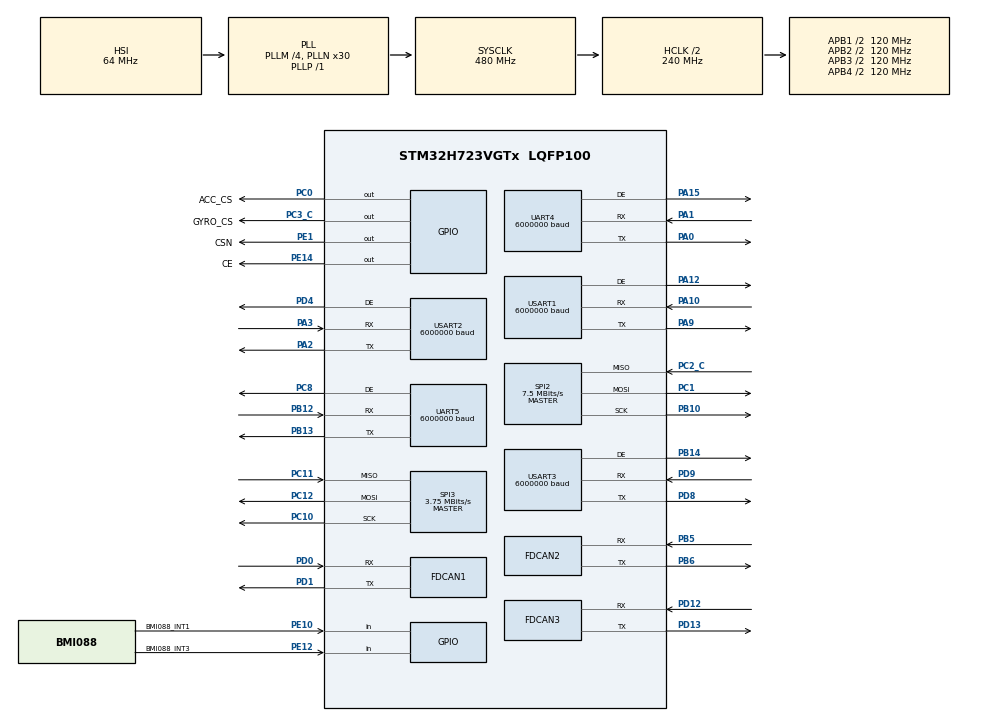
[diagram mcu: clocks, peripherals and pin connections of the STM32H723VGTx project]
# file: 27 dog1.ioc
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CORTEX_M7.default_mode_Activation=1
Dma.Request0=USART1_RX
Dma.Request1=USART1_TX
Dma.Request2=USART2_RX
Dma.Request3=USART2_TX
Dma.Request4=USART3_RX
Dma.Request5=USART3_TX
Dma.Request6=UART4_TX
Dma.Request7=UART4_RX
Dma.Request8=UART5_RX
Dma.Request9=UART5_TX
Dma.UART4_RX.7.Direction=DMA_PERIPH_TO_MEMORY
Dma.UART4_RX.7.EventEnable=DISABLE
Dma.UART4_RX.7.FIFOMode=DMA_FIFOMODE_DISABLE
Dma.UART4_RX.7.Instance=DMA1_Stream7
Dma.UART4_RX.7.MemDataAlignment=DMA_MDATAALIGN_BYTE
Dma.UART4_RX.7.MemInc=DMA_MINC_ENABLE
Dma.UART4_RX.7.Mode=DMA_CIRCULAR
Dma.UART4_RX.7.PeriphDataAlignment=DMA_PDATAALIGN_BYTE
Dma.UART4_RX.7.PeriphInc=DMA_PINC_DISABLE
Dma.UART4_RX.7.Polarity=HAL_DMAMUX_REQ_GEN_RISING
Dma.UART4_RX.7.Priority=DMA_PRIORITY_MEDIUM
Dma.UART4_RX.7.RequestNumber=1
Dma.UART4_RX.7.SignalID=NONE
Dma.UART4_RX.7.SyncEnable=DISABLE
Dma.UART4_RX.7.SyncPolarity=HAL_DMAMUX_SYNC_NO_EVENT
Dma.UART4_RX.7.SyncRequestNumber=1
Dma.UART4_RX.7.SyncSignalID=NONE
Dma.UART4_TX.6.Direction=DMA_MEMORY_TO_PERIPH
Dma.UART4_TX.6.EventEnable=DISABLE
Dma.UART4_TX.6.FIFOMode=DMA_FIFOMODE_DISABLE
Dma.UART4_TX.6.Instance=DMA1_Stream6
Dma.UART4_TX.6.MemDataAlignment=DMA_MDATAALIGN_BYTE
Dma.UART4_TX.6.MemInc=DMA_MINC_ENABLE
Dma.UART4_TX.6.Mode=DMA_NORMAL
Dma.UART4_TX.6.PeriphDataAlignment=DMA_PDATAALIGN_BYTE
Dma.UART4_TX.6.PeriphInc=DMA_PINC_DISABLE
Dma.UART4_TX.6.Polarity=HAL_DMAMUX_REQ_GEN_RISING
Dma.UART4_TX.6.Priority=DMA_PRIORITY_MEDIUM
Dma.UART4_TX.6.RequestNumber=1
Dma.UART4_TX.6.SignalID=NONE
Dma.UART4_TX.6.SyncEnable=DISABLE
Dma.UART4_TX.6.SyncPolarity=HAL_DMAMUX_SYNC_NO_EVENT
Dma.UART4_TX.6.SyncRequestNumber=1
Dma.UART4_TX.6.SyncSignalID=NONE
Dma.UART5_RX.8.Direction=DMA_PERIPH_TO_MEMORY
Dma.UART5_RX.8.EventEnable=DISABLE
Dma.UART5_RX.8.FIFOMode=DMA_FIFOMODE_DISABLE
Dma.UART5_RX.8.Instance=DMA2_Stream0
Dma.UART5_RX.8.MemDataAlignment=DMA_MDATAALIGN_BYTE
Dma.UART5_RX.8.MemInc=DMA_MINC_ENABLE
Dma.UART5_RX.8.Mode=DMA_CIRCULAR
Dma.UART5_RX.8.PeriphDataAlignment=DMA_PDATAALIGN_BYTE
Dma.UART5_RX.8.PeriphInc=DMA_PINC_DISABLE
Dma.UART5_RX.8.Polarity=HAL_DMAMUX_REQ_GEN_RISING
Dma.UART5_RX.8.Priority=DMA_PRIORITY_MEDIUM
Dma.UART5_RX.8.RequestNumber=1
Dma.UART5_RX.8.SignalID=NONE
Dma.UART5_RX.8.SyncEnable=DISABLE
Dma.UART5_RX.8.SyncPolarity=HAL_DMAMUX_SYNC_NO_EVENT
Dma.UART5_RX.8.SyncRequestNumber=1
Dma.UART5_RX.8.SyncSignalID=NONE
Dma.UART5_TX.9.Direction=DMA_MEMORY_TO_PERIPH
Dma.UART5_TX.9.EventEnable=DISABLE
Dma.UART5_TX.9.FIFOMode=DMA_FIFOMODE_DISABLE
Dma.UART5_TX.9.Instance=DMA2_Stream1
Dma.UART5_TX.9.MemDataAlignment=DMA_MDATAALIGN_BYTE
Dma.UART5_TX.9.MemInc=DMA_MINC_ENABLE
Dma.UART5_TX.9.Mode=DMA_NORMAL
Dma.UART5_TX.9.PeriphDataAlignment=DMA_PDATAALIGN_BYTE
Dma.UART5_TX.9.PeriphInc=DMA_PINC_DISABLE
Dma.UART5_TX.9.Polarity=HAL_DMAMUX_REQ_GEN_RISING
Dma.UART5_TX.9.Priority=DMA_PRIORITY_MEDIUM
Dma.UART5_TX.9.RequestNumber=1
Dma.UART5_TX.9.SignalID=NONE
Dma.UART5_TX.9.SyncEnable=DISABLE
Dma.UART5_TX.9.SyncPolarity=HAL_DMAMUX_SYNC_NO_EVENT
Dma.UART5_TX.9.SyncRequestNumber=1
Dma.UART5_TX.9.SyncSignalID=NONE
Dma.USART1_RX.0.Direction=DMA_PERIPH_TO_MEMORY
Dma.USART1_RX.0.EventEnable=DISABLE
Dma.USART1_RX.0.FIFOMode=DMA_FIFOMODE_DISABLE
Dma.USART1_RX.0.Instance=DMA1_Stream0
Dma.USART1_RX.0.MemDataAlignment=DMA_MDATAALIGN_BYTE
Dma.USART1_RX.0.MemInc=DMA_MINC_ENABLE
Dma.USART1_RX.0.Mode=DMA_CIRCULAR
Dma.USART1_RX.0.PeriphDataAlignment=DMA_PDATAALIGN_BYTE
Dma.USART1_RX.0.PeriphInc=DMA_PINC_DISABLE
Dma.USART1_RX.0.Polarity=HAL_DMAMUX_REQ_GEN_RISING
Dma.USART1_RX.0.Priority=DMA_PRIORITY_MEDIUM
Dma.USART1_RX.0.RequestNumber=1
Dma.USART1_RX.0.SignalID=NONE
Dma.USART1_RX.0.SyncEnable=DISABLE
Dma.USART1_RX.0.SyncPolarity=HAL_DMAMUX_SYNC_NO_EVENT
Dma.USART1_RX.0.SyncRequestNumber=1
Dma.USART1_RX.0.SyncSignalID=NONE
Dma.USART1_TX.1.Direction=DMA_MEMORY_TO_PERIPH
Dma.USART1_TX.1.EventEnable=DISABLE
Dma.USART1_TX.1.FIFOMode=DMA_FIFOMODE_DISABLE
Dma.USART1_TX.1.Instance=DMA1_Stream1
Dma.USART1_TX.1.MemDataAlignment=DMA_MDATAALIGN_BYTE
Dma.USART1_TX.1.MemInc=DMA_MINC_ENABLE
Dma.USART1_TX.1.Mode=DMA_NORMAL
Dma.USART1_TX.1.PeriphDataAlignment=DMA_PDATAALIGN_BYTE
Dma.USART1_TX.1.PeriphInc=DMA_PINC_DISABLE
Dma.USART1_TX.1.Polarity=HAL_DMAMUX_REQ_GEN_RISING
Dma.USART1_TX.1.Priority=DMA_PRIORITY_MEDIUM
Dma.USART1_TX.1.RequestNumber=1
Dma.USART1_TX.1.SignalID=NONE
Dma.USART1_TX.1.SyncEnable=DISABLE
Dma.USART1_TX.1.SyncPolarity=HAL_DMAMUX_SYNC_NO_EVENT
Dma.USART1_TX.1.SyncRequestNumber=1
Dma.USART1_TX.1.SyncSignalID=NONE
Dma.USART2_RX.2.Direction=DMA_PERIPH_TO_MEMORY
Dma.USART2_RX.2.EventEnable=DISABLE
Dma.USART2_RX.2.FIFOMode=DMA_FIFOMODE_DISABLE
Dma.USART2_RX.2.Instance=DMA1_Stream2
Dma.USART2_RX.2.MemDataAlignment=DMA_MDATAALIGN_BYTE
Dma.USART2_RX.2.MemInc=DMA_MINC_ENABLE
Dma.USART2_RX.2.Mode=DMA_CIRCULAR
Dma.USART2_RX.2.PeriphDataAlignment=DMA_PDATAALIGN_BYTE
Dma.USART2_RX.2.PeriphInc=DMA_PINC_DISABLE
Dma.USART2_RX.2.Polarity=HAL_DMAMUX_REQ_GEN_RISING
Dma.USART2_RX.2.Priority=DMA_PRIORITY_MEDIUM
Dma.USART2_RX.2.RequestNumber=1
Dma.USART2_RX.2.SignalID=NONE
Dma.USART2_RX.2.SyncEnable=DISABLE
Dma.USART2_RX.2.SyncPolarity=HAL_DMAMUX_SYNC_NO_EVENT
Dma.USART2_RX.2.SyncRequestNumber=1
Dma.USART2_RX.2.SyncSignalID=NONE
Dma.USART2_TX.3.Direction=DMA_MEMORY_TO_PERIPH
Dma.USART2_TX.3.EventEnable=DISABLE
Dma.USART2_TX.3.FIFOMode=DMA_FIFOMODE_DISABLE
Dma.USART2_TX.3.Instance=DMA1_Stream3
Dma.USART2_TX.3.MemDataAlignment=DMA_MDATAALIGN_BYTE
Dma.USART2_TX.3.MemInc=DMA_MINC_ENABLE
Dma.USART2_TX.3.Mode=DMA_NORMAL
Dma.USART2_TX.3.PeriphDataAlignment=DMA_PDATAALIGN_BYTE
Dma.USART2_TX.3.PeriphInc=DMA_PINC_DISABLE
Dma.USART2_TX.3.Polarity=HAL_DMAMUX_REQ_GEN_RISING
Dma.USART2_TX.3.Priority=DMA_PRIORITY_MEDIUM
Dma.USART2_TX.3.RequestNumber=1
Dma.USART2_TX.3.SignalID=NONE
Dma.USART2_TX.3.SyncEnable=DISABLE
Dma.USART2_TX.3.SyncPolarity=HAL_DMAMUX_SYNC_NO_EVENT
Dma.USART2_TX.3.SyncRequestNumber=1
Dma.USART2_TX.3.SyncSignalID=NONE
Dma.USART3_RX.4.Direction=DMA_PERIPH_TO_MEMORY
Dma.USART3_RX.4.EventEnable=DISABLE
Dma.USART3_RX.4.FIFOMode=DMA_FIFOMODE_DISABLE
Dma.USART3_RX.4.Instance=DMA1_Stream4
Dma.USART3_RX.4.MemDataAlignment=DMA_MDATAALIGN_BYTE
Dma.USART3_RX.4.MemInc=DMA_MINC_ENABLE
Dma.USART3_RX.4.Mode=DMA_CIRCULAR
Dma.USART3_RX.4.PeriphDataAlignment=DMA_PDATAALIGN_BYTE
Dma.USART3_RX.4.PeriphInc=DMA_PINC_DISABLE
Dma.USART3_RX.4.Polarity=HAL_DMAMUX_REQ_GEN_RISING
Dma.USART3_RX.4.Priority=DMA_PRIORITY_MEDIUM
Dma.USART3_RX.4.RequestNumber=1
Dma.USART3_RX.4.SignalID=NONE
Dma.USART3_RX.4.SyncEnable=DISABLE
Dma.USART3_RX.4.SyncPolarity=HAL_DMAMUX_SYNC_NO_EVENT
Dma.USART3_RX.4.SyncRequestNumber=1
Dma.USART3_RX.4.SyncSignalID=NONE
Dma.USART3_TX.5.Direction=DMA_MEMORY_TO_PERIPH
Dma.USART3_TX.5.EventEnable=DISABLE
Dma.USART3_TX.5.FIFOMode=DMA_FIFOMODE_DISABLE
Dma.USART3_TX.5.Instance=DMA1_Stream5
Dma.USART3_TX.5.MemDataAlignment=DMA_MDATAALIGN_BYTE
Dma.USART3_TX.5.MemInc=DMA_MINC_ENABLE
Dma.USART3_TX.5.Mode=DMA_NORMAL
Dma.USART3_TX.5.PeriphDataAlignment=DMA_PDATAALIGN_BYTE
Dma.USART3_TX.5.PeriphInc=DMA_PINC_DISABLE
Dma.USART3_TX.5.Polarity=HAL_DMAMUX_REQ_GEN_RISING
Dma.USART3_TX.5.Priority=DMA_PRIORITY_MEDIUM
Dma.USART3_TX.5.RequestNumber=1
Dma.USART3_TX.5.SignalID=NONE
Dma.USART3_TX.5.SyncEnable=DISABLE
Dma.USART3_TX.5.SyncPolarity=HAL_DMAMUX_SYNC_NO_EVENT
Dma.USART3_TX.5.SyncRequestNumber=1
Dma.USART3_TX.5.SyncSignalID=NONE
FDCAN1.CalculateBaudRateNominal=1000000
FDCAN1.CalculateTimeBitNominal=1000
FDCAN1.CalculateTimeQuantumNominal=25.0
FDCAN1.DataPrescaler=3
FDCAN1.DataSyncJumpWidth=10
FDCAN1.DataTimeSeg1=29
FDCAN1.DataTimeSeg2=10
FDCAN1.NominalPrescaler=3
FDCAN1.NominalSyncJumpWidth=10
FDCAN1.NominalTimeSeg1=29
FDCAN1.NominalTimeSeg2=10
FDCAN1.ProtocolException=ENABLE
FDCAN1.RxFifo0ElmtsNbr=2
FDCAN1.StdFiltersNbr=1
FDCAN1.TxFifoQueueElmtsNbr=2
FDCAN2.CalculateBaudRateNominal=1000000
FDCAN2.CalculateTimeBitNominal=1000
FDCAN2.CalculateTimeQuantumNominal=25.0
FDCAN2.DataPrescaler=3
FDCAN2.DataSyncJumpWidth=10
FDCAN2.DataTimeSeg1=29
FDCAN2.DataTimeSeg2=10
FDCAN2.MessageRAMOffset=20
FDCAN2.NominalPrescaler=3
FDCAN2.NominalSyncJumpWidth=10
FDCAN2.NominalTimeSeg1=29
FDCAN2.NominalTimeSeg2=10
FDCAN2.ProtocolException=ENABLE
FDCAN2.RxFifo0ElmtsNbr=2
FDCAN2.StdFiltersNbr=1
FDCAN2.TxFifoQueueElmtsNbr=2
FDCAN3.CalculateBaudRateNominal=1000000
FDCAN3.CalculateTimeBitNominal=1000
FDCAN3.CalculateTimeQuantumNominal=25.0
FDCAN3.DataPrescaler=3
FDCAN3.DataSyncJumpWidth=10
FDCAN3.DataTimeSeg1=29
FDCAN3.DataTimeSeg2=10
FDCAN3.MessageRAMOffset=40
FDCAN3.NominalPrescaler=3
FDCAN3.NominalSyncJumpWidth=10
FDCAN3.NominalTimeSeg1=29
FDCAN3.NominalTimeSeg2=10
FDCAN3.ProtocolException=ENABLE
FDCAN3.RxFifo0ElmtsNbr=2
FDCAN3.StdFiltersNbr=1
FDCAN3.TxFifoQueueElmtsNbr=2
FREERTOS.Tasks01=Motor6014Task,42,128,StartMotor6014Task,Default,NULL,Dynamic,NULL,NULL;BMI088,40,256,StartBMI088Task,Default,NULL,Dynamic,NULL,NULL;AttitudeControl,41,512,StartAttitudeControlTask,Default,NULL,Dynamic,NULL,NULL;Moror3508,42,256,StartMotor3508Task,Default,NULL,Dynamic,NULL,NULL
FREERTOS.configUSE_NEWLIB_REENTRANT=1
Mcu.Family=STM32H7
Mcu.Name=STM32H723VGTx
Mcu.Package=LQFP100
NVIC.DMA1_Stream0_IRQn=true\:5\:0\:false\:false\:true\:true\:false\:true\:true
NVIC.DMA1_Stream1_IRQn=true\:5\:0\:false\:false\:true\:true\:false\:true\:true
NVIC.DMA1_Stream2_IRQn=true\:5\:0\:false\:false\:true\:true\:false\:true\:true
NVIC.DMA1_Stream3_IRQn=true\:5\:0\:false\:false\:true\:true\:false\:true\:true
NVIC.DMA1_Stream4_IRQn=true\:5\:0\:false\:false\:true\:true\:false\:true\:true
NVIC.DMA1_Stream5_IRQn=true\:5\:0\:false\:false\:true\:true\:false\:true\:true
NVIC.DMA1_Stream6_IRQn=true\:5\:0\:false\:false\:true\:true\:false\:true\:true
NVIC.DMA1_Stream7_IRQn=true\:5\:0\:false\:false\:true\:true\:false\:true\:true
NVIC.DMA2_Stream0_IRQn=true\:5\:0\:true\:false\:true\:true\:false\:true\:true
NVIC.DMA2_Stream1_IRQn=true\:5\:0\:false\:false\:true\:true\:false\:true\:true
NVIC.FDCAN1_IT0_IRQn=true\:5\:0\:true\:false\:true\:true\:true\:true\:true
NVIC.FDCAN1_IT1_IRQn=true\:5\:0\:false\:false\:true\:true\:true\:true\:true
NVIC.FDCAN2_IT0_IRQn=true\:5\:0\:false\:false\:true\:true\:true\:true\:true
NVIC.FDCAN2_IT1_IRQn=true\:5\:0\:false\:false\:true\:true\:true\:true\:true
NVIC.FDCAN3_IT0_IRQn=true\:5\:0\:true\:false\:true\:true\:true\:true\:true
NVIC.FDCAN3_IT1_IRQn=true\:5\:0\:false\:false\:true\:true\:true\:true\:true
NVIC.FDCAN_CAL_IRQn=true\:5\:0\:true\:false\:true\:true\:true\:true\:true
NVIC.PriorityGroup=NVIC_PRIORITYGROUP_4
NVIC.TIM4_IRQn=true\:15\:0\:false\:false\:true\:false\:false\:true\:true
NVIC.TimeBase=TIM4_IRQn
NVIC.TimeBaseIP=TIM4
NVIC.UART4_IRQn=true\:6\:0\:true\:false\:true\:true\:true\:true\:true
NVIC.UART5_IRQn=true\:6\:0\:true\:false\:true\:true\:true\:true\:true
NVIC.USART1_IRQn=true\:6\:0\:true\:false\:true\:true\:true\:true\:true
NVIC.USART2_IRQn=true\:6\:0\:true\:false\:true\:true\:true\:true\:true
NVIC.USART3_IRQn=true\:6\:0\:true\:false\:true\:true\:true\:true\:true
PA0.Mode=Asynchronous
PA0.Signal=UART4_TX
PA1.Mode=Asynchronous
PA1.Signal=UART4_RX
PA10.GPIO_Speed=GPIO_SPEED_FREQ_VERY_HIGH
PA10.Mode=Asynchronous
PA10.Signal=USART1_RX
PA12.GPIO_Speed=GPIO_SPEED_FREQ_VERY_HIGH
PA12.Mode=Hardware Flow Control (RS485)
PA12.Signal=USART1_DE
PA13(JTMS/SWDIO).Signal=DEBUG_JTMS-SWDIO
PA14(JTCK/SWCLK).Signal=DEBUG_JTCK-SWCLK
PA15(JTDI).Mode=Hardware Flow Control (RS485)
PA15(JTDI).Signal=UART4_DE
PA2.Mode=Asynchronous
PA2.Signal=USART2_TX
PA3.Mode=Asynchronous
PA3.Signal=USART2_RX
PA9.GPIO_Speed=GPIO_SPEED_FREQ_VERY_HIGH
PA9.Mode=Asynchronous
PA9.Signal=USART1_TX
PB10.Mode=Full_Duplex_Master
PB10.Signal=SPI2_SCK
PB12.Mode=Asynchronous
PB12.Signal=UART5_RX
PB13.Mode=Asynchronous
PB13.Signal=UART5_TX
PB14.Mode=Hardware Flow Control (RS485)
PB14.Signal=USART3_DE
PB5.Mode=FDCAN_Activate
PB5.Signal=FDCAN2_RX
PB6.Mode=FDCAN_Activate
PB6.Signal=FDCAN2_TX
PC0.GPIO_Label=ACC_CS
PC0.PinState=GPIO_PIN_SET
PC0.Signal=GPIO_Output
PC1.Mode=Full_Duplex_Master
PC1.Signal=SPI2_MOSI
PC10.Mode=Full_Duplex_Master
PC10.Signal=SPI3_SCK
PC11.Mode=Full_Duplex_Master
PC11.Signal=SPI3_MISO
PC12.Mode=Full_Duplex_Master
PC12.Signal=SPI3_MOSI
PC2_C.Mode=Full_Duplex_Master
PC2_C.Signal=SPI2_MISO
PC3_C.GPIO_Label=GYRO_CS
PC3_C.PinState=GPIO_PIN_SET
PC3_C.Signal=GPIO_Output
PC8.Mode=Hardware Flow Control (RS485)
PC8.Signal=UART5_DE
PD0.Mode=FDCAN_Activate
PD0.Signal=FDCAN1_RX
PD1.Mode=FDCAN_Activate
PD1.Signal=FDCAN1_TX
PD12.Mode=FDCAN_Activate
PD12.Signal=FDCAN3_RX
PD13.Mode=FDCAN_Activate
PD13.Signal=FDCAN3_TX
PD4.Mode=Hardware Flow Control (RS485)
PD4.Signal=USART2_DE
PD8.Mode=Asynchronous
PD8.Signal=USART3_TX
PD9.Mode=Asynchronous
PD9.Signal=USART3_RX
PE1.GPIO_Label=CSN
PE1.GPIO_PuPd=GPIO_PULLUP
PE1.GPIO_Speed=GPIO_SPEED_FREQ_MEDIUM
PE1.PinState=GPIO_PIN_SET
PE1.Signal=GPIO_Output
PE10.GPIO_Label=BMI088_INT1
PE10.GPIO_PuPd=GPIO_NOPULL
PE10.Signal=GPIO_Input
PE12.GPIO_Label=BMI088_INT3
PE12.GPIO_PuPd=GPIO_NOPULL
PE12.Signal=GPIO_Input
PE14.GPIO_Label=CE
PE14.GPIO_PuPd=GPIO_PULLDOWN
PE14.GPIO_Speed=GPIO_SPEED_FREQ_MEDIUM
PE14.PinState=GPIO_PIN_RESET
PE14.Signal=GPIO_Output
PH0-OSC_IN.Mode=HSE-External-Oscillator
PH0-OSC_IN.Signal=RCC_OSC_IN
PH1-OSC_OUT.Mode=HSE-External-Oscillator
PH1-OSC_OUT.Signal=RCC_OSC_OUT
ProjectManager.HeapSize=0x200
ProjectManager.StackSize=0x400
ProjectManager.TargetToolchain=STM32CubeIDE
RCC.ADCFreq_Value=129000000
RCC.APB1Freq_Value=120000000
RCC.APB2Freq_Value=120000000
RCC.APB3Freq_Value=120000000
RCC.APB4Freq_Value=120000000
RCC.CortexFreq_Value=480000000
RCC.D1PPRE=RCC_APB3_DIV2
RCC.D2PPRE1=RCC_APB1_DIV2
RCC.D2PPRE2=RCC_APB2_DIV2
RCC.D3PPRE=RCC_APB4_DIV2
RCC.DIVM1=4
RCC.DIVN1=30
RCC.DIVP1=1
RCC.DIVQ1=4
RCC.HCLKFreq_Value=240000000
RCC.HPRE=RCC_HCLK_DIV2
RCC.HSE_VALUE=24000000
RCC.PLL2FRACN=0
RCC.PLL3FRACN=0
RCC.PLLFRACN=0
RCC.SYSCLKFreq_VALUE=480000000
RCC.SYSCLKSource=RCC_SYSCLKSOURCE_PLLCLK
RCC.USBFreq_Value=120000000
SPI2.BaudRatePrescaler=SPI_BAUDRATEPRESCALER_16
SPI2.CLKPhase=SPI_PHASE_2EDGE
SPI2.CLKPolarity=SPI_POLARITY_HIGH
SPI2.CalculateBaudRate=7.5 MBits/s
SPI2.DataSize=SPI_DATASIZE_8BIT
SPI2.Direction=SPI_DIRECTION_2LINES
SPI2.Mode=SPI_MODE_MASTER
SPI2.VirtualType=VM_MASTER
SPI3.BaudRatePrescaler=SPI_BAUDRATEPRESCALER_32
SPI3.CalculateBaudRate=3.75 MBits/s
SPI3.DataSize=SPI_DATASIZE_8BIT
SPI3.Direction=SPI_DIRECTION_2LINES
SPI3.Mode=SPI_MODE_MASTER
SPI3.VirtualType=VM_MASTER
UART4.BaudRate=6000000
UART5.BaudRate=6000000
USART1.BaudRate=6000000
USART1.VirtualMode-Asynchronous=VM_ASYNC
USART1.VirtualMode-Hardware\ Flow\ Control\ (RS485)=VM_ASYNC
USART2.BaudRate=6000000
USART2.VirtualMode-Asynchronous=VM_ASYNC
USART2.VirtualMode-Hardware\ Flow\ Control\ (RS485)=VM_ASYNC
USART3.BaudRate=6000000
USART3.VirtualMode-Asynchronous=VM_ASYNC
USART3.VirtualMode-Hardware\ Flow\ Control\ (RS485)=VM_ASYNC
VP_FREERTOS_VS_CMSIS_V2.Mode=CMSIS_V2
VP_MEMORYMAP_VS_MEMORYMAP.Mode=CurAppReg
VP_SYS_VS_tim4.Mode=TIM4
board=custom

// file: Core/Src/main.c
/* USER CODE BEGIN Header */
/**
  ******************************************************************************
  * @file           : main.c
  * @brief          : Main program body
  ******************************************************************************
  * @attention
  *
  * Copyright (c) 2026 STMicroelectronics.
  * All rights reserved.
  *
  * This software is licensed under terms that can be found in the LICENSE file
  * in the root directory of this software component.
  * If no LICENSE file comes with this software, it is provided AS-IS.
  *
  ******************************************************************************
  */
/* USER CODE END Header */
#include "main.h"
#include "cmsis_os.h"
#include "dma.h"
#include "fdcan.h"
#include "spi.h"
#include "usart.h"
#include "gpio.h"

/* USER CODE BEGIN Includes */
#include "motor6014.h"
#include"3508_driver.h"
#include"AS01.h"
#include"BMI088driver.h"
#include "Attitude_solution.h"
/* USER CODE END Includes */

/* USER CODE BEGIN PV */
static Motor6014_Port_t motor6014_port[6];
/* USER CODE END PV */

void SystemClock_Config(void);
static void MPU_Config(void);
void MX_FREERTOS_Init(void);

int main(void)
{

  /* MPU Configuration--------------------------------------------------------*/
  MPU_Config();

  /* MCU Configuration--------------------------------------------------------*/

  /* Reset of all peripherals, Initializes the Flash interface and the Systick. */
  HAL_Init();

  /* Configure the system clock */
  SystemClock_Config();

  /* Initialize all configured peripherals */
  MX_GPIO_Init();
  MX_DMA_Init();
  MX_USART1_UART_Init();
  MX_USART2_UART_Init();
  MX_USART3_UART_Init();
  MX_UART4_Init();
  MX_UART5_Init();
  MX_FDCAN1_Init();
  MX_FDCAN3_Init();
  MX_FDCAN2_Init();
  MX_SPI3_Init();
  MX_SPI2_Init();
  /* USER CODE BEGIN 2 */
  D3508_Init();//Motors存储3508电机反馈
  FDCAN1_Filter_Init();
  FDCAN2_Filter_Init();
  BMI088_init(); //g_Attitude角度保存地址
  Attitude_Init();
  if (Motor6014_PortInit(&motor6014_port[3], &huart3,
                        MOTOR6014_DEFAULT_TIMEOUT_MS) != MOTOR6014_OK)
  {
    Error_Handler();
  }
	if (NRF24L01_Check_SPI() == 0) {
		NRF24L01_Init();
	}
  /* USER CODE END 2 */

  /* Init scheduler */
  osKernelInitialize();  /* Call init function for freertos objects (in cmsis_os2.c) */
  MX_FREERTOS_Init();

  /* Start scheduler */
  osKernelStart();

  /* We should never get here as control is now taken by the scheduler */

  /* Infinite loop */
  while (1)
  {

  }
}

void SystemClock_Config(void)
{
  RCC_OscInitTypeDef RCC_OscInitStruct = {0};
  RCC_ClkInitTypeDef RCC_ClkInitStruct = {0};

  /** Supply configuration update enable
  */
  HAL_PWREx_ConfigSupply(PWR_LDO_SUPPLY);

  /** Configure the main internal regulator output voltage
  */
  __HAL_PWR_VOLTAGESCALING_CONFIG(PWR_REGULATOR_VOLTAGE_SCALE0);

  while(!__HAL_PWR_GET_FLAG(PWR_FLAG_VOSRDY)) {}

  /** Initializes the RCC Oscillators according to the specified parameters
  * in the RCC_OscInitTypeDef structure.
  */
  RCC_OscInitStruct.OscillatorType = RCC_OSCILLATORTYPE_HSI;
  RCC_OscInitStruct.HSIState = RCC_HSI_DIV1;
  RCC_OscInitStruct.HSICalibrationValue = 64;
  RCC_OscInitStruct.PLL.PLLState = RCC_PLL_ON;
  RCC_OscInitStruct.PLL.PLLSource = RCC_PLLSOURCE_HSI;
  RCC_OscInitStruct.PLL.PLLM = 4;
  RCC_OscInitStruct.PLL.PLLN = 30;
  RCC_OscInitStruct.PLL.PLLP = 1;
  RCC_OscInitStruct.PLL.PLLQ = 4;
  RCC_OscInitStruct.PLL.PLLR = 2;
  RCC_OscInitStruct.PLL.PLLRGE = RCC_PLL1VCIRANGE_3;
  RCC_OscInitStruct.PLL.PLLVCOSEL = RCC_PLL1VCOWIDE;
  RCC_OscInitStruct.PLL.PLLFRACN = 0;
  if (HAL_RCC_OscConfig(&RCC_OscInitStruct) != HAL_OK)
  {
    Error_Handler();
  }

  /** Initializes the CPU, AHB and APB buses clocks
  */
  RCC_ClkInitStruct.ClockType = RCC_CLOCKTYPE_HCLK|RCC_CLOCKTYPE_SYSCLK
                              |RCC_CLOCKTYPE_PCLK1|RCC_CLOCKTYPE_PCLK2
                              |RCC_CLOCKTYPE_D3PCLK1|RCC_CLOCKTYPE_D1PCLK1;
  RCC_ClkInitStruct.SYSCLKSource = RCC_SYSCLKSOURCE_PLLCLK;
  RCC_ClkInitStruct.SYSCLKDivider = RCC_SYSCLK_DIV1;
  RCC_ClkInitStruct.AHBCLKDivider = RCC_HCLK_DIV2;
  RCC_ClkInitStruct.APB3CLKDivider = RCC_APB3_DIV2;
  RCC_ClkInitStruct.APB1CLKDivider = RCC_APB1_DIV2;
  RCC_ClkInitStruct.APB2CLKDivider = RCC_APB2_DIV2;
  RCC_ClkInitStruct.APB4CLKDivider = RCC_APB4_DIV2;

  if (HAL_RCC_ClockConfig(&RCC_ClkInitStruct, FLASH_LATENCY_3) != HAL_OK)
  {
    Error_Handler();
  }
}

/* USER CODE BEGIN 4 */
void HAL_FDCAN_RxFifo0Callback(FDCAN_HandleTypeDef *hfdcan, uint32_t RxFifo0ITs)
{
    FDCAN_RxHeaderTypeDef RxHeader;
    uint8_t RxData[64]; /* HAL copies the received DLC before driver validation. */

    if ((RxFifo0ITs & FDCAN_IT_RX_FIFO0_NEW_MESSAGE) != 0) {
        while (HAL_FDCAN_GetRxFifoFillLevel(hfdcan, FDCAN_RX_FIFO0) > 0) {
            if (HAL_FDCAN_GetRxMessage(hfdcan, FDCAN_RX_FIFO0, &RxHeader, RxData) == HAL_OK) {
                (void)D3508_Decode(hfdcan, &RxHeader, RxData);
            } else {
                break;
            }
        }
    }
}
void HAL_FDCAN_ErrorStatusCallback(FDCAN_HandleTypeDef *hfdcan, uint32_t ErrorStatusITs)
{
    if ((ErrorStatusITs & FDCAN_IT_BUS_OFF) != 0U) {
        FDCAN_ProtocolStatusTypeDef status = {0};
        if (HAL_FDCAN_GetProtocolStatus(hfdcan, &status) != HAL_OK || status.BusOff)
            D3508_OnBusOff(hfdcan);
    }
}
void HAL_UARTEx_RxEventCallback(UART_HandleTypeDef *huart, uint16_t Size)
{
  Motor6014_OnRxEvent(huart, Size);
}

void HAL_UART_TxCpltCallback(UART_HandleTypeDef *huart)
{
  Motor6014_OnTxComplete(huart);
}

void HAL_UART_ErrorCallback(UART_HandleTypeDef *huart)
{
  Motor6014_OnError(huart);
}
/* USER CODE END 4 */

 /* MPU Configuration */

void MPU_Config(void)
{
  MPU_Region_InitTypeDef MPU_InitStruct = {0};

  /* Disables the MPU */
  HAL_MPU_Disable();

  /** Initializes and configures the Region and the memory to be protected
  */
  MPU_InitStruct.Enable = MPU_REGION_ENABLE;
  MPU_InitStruct.Number = MPU_REGION_NUMBER0;
  MPU_InitStruct.BaseAddress = 0x0;
  MPU_InitStruct.Size = MPU_REGION_SIZE_4GB;
  MPU_InitStruct.SubRegionDisable = 0x87;
  MPU_InitStruct.TypeExtField = MPU_TEX_LEVEL0;
  MPU_InitStruct.AccessPermission = MPU_REGION_NO_ACCESS;
  MPU_InitStruct.DisableExec = MPU_INSTRUCTION_ACCESS_DISABLE;
  MPU_InitStruct.IsShareable = MPU_ACCESS_SHAREABLE;
  MPU_InitStruct.IsCacheable = MPU_ACCESS_NOT_CACHEABLE;
  MPU_InitStruct.IsBufferable = MPU_ACCESS_NOT_BUFFERABLE;

  HAL_MPU_ConfigRegion(&MPU_InitStruct);
  /* Enables the MPU */
  HAL_MPU_Enable(MPU_PRIVILEGED_DEFAULT);

}

void HAL_TIM_PeriodElapsedCallback(TIM_HandleTypeDef *htim)
{
  if (htim->Instance == TIM4)
  {
    HAL_IncTick();
  }
}

void Error_Handler(void)
{
  __disable_irq();
  while (1)
  {
  }
}

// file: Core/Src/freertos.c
/* USER CODE BEGIN Header */
/**
  ******************************************************************************
  * File Name          : freertos.c
  * Description        : Code for freertos applications
  ******************************************************************************
  * @attention
  *
  * Copyright (c) 2026 STMicroelectronics.
  * All rights reserved.
  *
  * This software is licensed under terms that can be found in the LICENSE file
  * in the root directory of this software component.
  * If no LICENSE file comes with this software, it is provided AS-IS.
  *
  ******************************************************************************
  */
/* USER CODE END Header */

#include "FreeRTOS.h"
#include "task.h"
#include "main.h"
#include "cmsis_os.h"

/* USER CODE BEGIN Includes */
#include "motor6014.h"
#include "usart.h"
#include "3508_driver.h"
#include "Attitude_solution.h"
#include "fdcan.h"
/* USER CODE END Includes */

/* Definitions for Motor6014Task */
osThreadId_t Motor6014TaskHandle;
const osThreadAttr_t Motor6014Task_attributes = {
  .name = "Motor6014Task",
  .stack_size = 128 * 4,
  .priority = (osPriority_t) osPriorityHigh2,
};
/* Definitions for BMI088 */
osThreadId_t BMI088Handle;
const osThreadAttr_t BMI088_attributes = {
  .name = "BMI088",
  .stack_size = 256 * 4,
  .priority = (osPriority_t) osPriorityHigh,
};
/* Definitions for AttitudeControl */
osThreadId_t AttitudeControlHandle;
const osThreadAttr_t AttitudeControl_attributes = {
  .name = "AttitudeControl",
  .stack_size = 512 * 4,
  .priority = (osPriority_t) osPriorityHigh1,
};
/* Definitions for Moror3508 */
osThreadId_t Moror3508Handle;
const osThreadAttr_t Moror3508_attributes = {
  .name = "Moror3508",
  .stack_size = 256 * 4,
  .priority = (osPriority_t) osPriorityHigh2,
};

/* USER CODE BEGIN FunctionPrototypes */
void D3508_ApplicationControl(float dt);

/* USER CODE END FunctionPrototypes */

void StartMotor6014Task(void *argument);
void StartBMI088Task(void *argument);
void StartAttitudeControlTask(void *argument);
void StartMotor3508Task(void *argument);

void MX_FREERTOS_Init(void); /* (MISRA C 2004 rule 8.1) */

void MX_FREERTOS_Init(void) {

  /* Create the thread(s) */
  /* creation of Motor6014Task */
  Motor6014TaskHandle = osThreadNew(StartMotor6014Task, NULL, &Motor6014Task_attributes);

  /* creation of BMI088 */
  BMI088Handle = osThreadNew(StartBMI088Task, NULL, &BMI088_attributes);

  /* creation of AttitudeControl */
  AttitudeControlHandle = osThreadNew(StartAttitudeControlTask, NULL, &AttitudeControl_attributes);

  /* creation of Moror3508 */
  Moror3508Handle = osThreadNew(StartMotor3508Task, NULL, &Moror3508_attributes);

  /* USER CODE BEGIN RTOS_THREADS */
  if (!Motor6014TaskHandle || !BMI088Handle || !AttitudeControlHandle || !Moror3508Handle)
    Error_Handler();
  /* add threads, ... */
  /* USER CODE END RTOS_THREADS */

}

void StartMotor6014Task(void *argument)
{
  /* USER CODE BEGIN StartMotor6014Task */
  /* Infinite loop */
  for(;;)
  {
	  Motor6014_SetCommand(&huart3, 1, MOTOR6014_MODE_FOC,0.0f, 0.0f, 0.0f, 0.0f, 0.0f, false);
	  Motor6014_SendCommand(&huart3, 1);
	  Motor6014_SetCommand(&huart3, 2, MOTOR6014_MODE_FOC,0.0f, 0.0f, 0.0f, 0.0f, 0.0f, false);
	  Motor6014_SendCommand(&huart3, 2);
	  Motor6014_SetCommand(&huart3, 3, MOTOR6014_MODE_FOC,0.0f, 0.0f, 0.0f, 0.0f, 0.0f, false);
	  Motor6014_SendCommand(&huart3, 3);
  }
  /* USER CODE END StartMotor6014Task */
}

void StartBMI088Task(void *argument)
{
  /* USER CODE BEGIN StartBMI088Task */
  TickType_t wake = xTaskGetTickCount();
  for(;;)
  {
    (void)BMI088Read(); /* Sample + calibration + attitude; no initialization. */
    (void)osThreadFlagsSet(AttitudeControlHandle, 1U);
    vTaskDelayUntil(&wake, pdMS_TO_TICKS(BMI088_SAMPLE_PERIOD_MS));
  }
  /* USER CODE END StartBMI088Task */
}

void StartAttitudeControlTask(void *argument)
{
  /* USER CODE BEGIN StartAttitudeControlTask */
  for(;;)
  {
    (void)osThreadFlagsWait(1U, osFlagsWaitAny, pdMS_TO_TICKS(5));
    /* Attitude is already updated by BMI088Read. Application control can read
     * an Attitude_GetSnapshot here; do not access SPI or update it twice. */
  }
  /* USER CODE END StartAttitudeControlTask */
}

void StartMotor3508Task(void *argument)
{
  /* USER CODE BEGIN StartMotor3508Task */
  TickType_t wake = xTaskGetTickCount();
  TickType_t previous = wake;
  for(;;)
  {
    TickType_t now = xTaskGetTickCount();
    float dt = now == previous ? D3508_DEFAULT_DT : (float)(now - previous) / configTICK_RATE_HZ;
    previous = now;
    D3508_Maintain();
    D3508_ApplicationControl(dt); /* Call Motor3508_SetCommand for each motor. */
    Motor3508_SendCommand(&hfdcan1); /* One 0x200 group per bus after all Sets. */
    Motor3508_SendCommand(&hfdcan2);
    vTaskDelayUntil(&wake, pdMS_TO_TICKS(5));
  }
  /* USER CODE END StartMotor3508Task */
}

/* USER CODE BEGIN Application */
/* Override to call Motor3508_SetCommand(handle, C620_ID, ticks, rpm, wheel_nm,
 * kp, kd). It computes current immediately; the task then sends each bus once.
 * Startup auto-enable is armed by D3508_Init; no Set means zero current. */
__weak void D3508_ApplicationControl(float dt) { (void)dt; }

/* USER CODE END Application */
